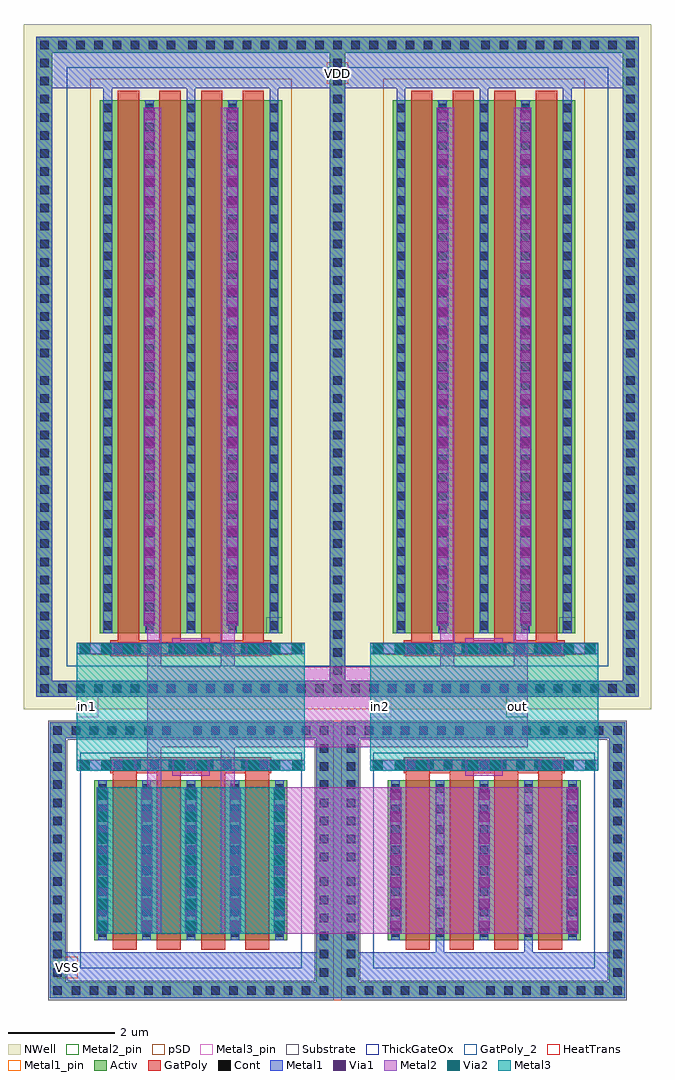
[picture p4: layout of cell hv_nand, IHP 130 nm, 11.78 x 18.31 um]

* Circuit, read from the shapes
.subckt hv_nand VDD VSS in1 in2 out
XM1 out in1 n1 VSS sg13_hv_nmos w=3u l=0.45u m=4
XM2 VSS in2 n1 VSS sg13_hv_nmos w=3u l=0.45u m=4
XM3 out in1 VDD VDD sg13_hv_pmos w=10u l=0.4u m=4
XM4 out in2 VDD VDD sg13_hv_pmos w=10u l=0.4u m=4
.ends

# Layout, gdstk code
from math import pi, radians
import gdstk
lib = gdstk.Library(unit=1e-6, precision=1e-09)
def R(c, l, rs):  # rectangles x0, y0, x1, y1
    for r in rs: c.add(gdstk.rectangle(r[:2], r[2:], *l))
def A(c, l, x, y, w, h, nx, ny, dx, dy):  # array of equal rectangles
    R(c, l, [(x+i*dx, y+j*dy, x+i*dx+w, y+j*dy+h) for i in range(nx) for j in range(ny)])
def P(c, l, *ps):  # polygons
    for p in ps: c.add(gdstk.Polygon(p, *l))
Activ = (1, 0)
GatPoly = (5, 0)
GatPoly_2 = (5, 2)
Cont = (6, 0)
Metal1 = (8, 0)
Metal1_pin = (8, 2)
Metal2 = (10, 0)
Metal2_pin = (10, 2)
pSD = (14, 0)
Via1 = (19, 0)
Via2 = (29, 0)
Metal3 = (30, 0)
Metal3_pin = (30, 2)
NWell = (31, 0)
Substrate = (40, 0)
ThickGateOx = (44, 0)
HeatTrans = (51, 0)

via_stack_13 = lib.new_cell('via_stack$13')
R(via_stack_13, Metal1, [(-0.105,-1.375,0.105,1.375)])
R(via_stack_13, Metal2, [(-0.1,-1.375,0.1,1.375)])
A(via_stack_13, Via1, -0.095, -1.325, 0.19, 0.19, 1, 7, 0, 0.41)

via_stack_10_1 = lib.new_cell('via_stack$10$1')
R(via_stack_10_1, Metal1, [(-0.105,-1.375,0.105,1.375)])
R(via_stack_10_1, Metal2, [(-0.1,-1.375,0.1,1.375)])
A(via_stack_10_1, Via1, -0.095, -1.325, 0.19, 0.19, 1, 7, 0, 0.41)
A(via_stack_10_1, Via2, -0.095, -1.325, 0.19, 0.19, 1, 7, 0, 0.41)
R(via_stack_10_1, Metal3, [(-0.1,-1.375,0.1,1.375)])

nmoshv_5 = lib.new_cell('nmosHV$5')
A(nmoshv_5, Activ, 0, 0, 0.3, 0.3, 5, 1, 0.83, 0)
R(nmoshv_5, Activ, [(-0.84,-0.79,-0.54,3.79), (4.16,-0.79,4.46,3.79), (0,0,3.62,3), (-0.84,3.79,4.46,4.09)])
P(nmoshv_5, Activ, [(-0.84,-1.09),(-0.84,3.79),(-0.54,3.79),(-0.54,-0.79),(4.16,-0.79),(4.16,3.79),(-0.84,3.79),(-0.84,4.09),(4.46,4.09),(4.46,-1.09)])
A(nmoshv_5, GatPoly, 0.34, -0.18, 0.45, 3.36, 4, 1, 0.83, 0)
R(nmoshv_5, GatPoly_2, [(0.34,-0.18,0.79,3.18)])
A(nmoshv_5, Cont, -0.77, -1.02, 0.16, 0.16, 7, 2, 0.34, 4.88)
A(nmoshv_5, Cont, 1.85, -1.02, 0.16, 0.16, 8, 2, 0.34, 4.88)
A(nmoshv_5, Cont, -0.77, -0.68, 0.16, 0.16, 1, 6, 0, 0.34)
A(nmoshv_5, Cont, 4.23, -0.68, 0.16, 0.16, 1, 6, 0, 0.34)
A(nmoshv_5, Cont, 0.07, 0.07, 0.16, 0.16, 5, 7, 0.83, 0.385)
A(nmoshv_5, Cont, -0.77, 1.48, 0.16, 0.16, 1, 7, 0, 0.34)
A(nmoshv_5, Cont, 4.23, 1.48, 0.16, 0.16, 1, 7, 0, 0.34)
A(nmoshv_5, Cont, 0.07, 2.77, 0.16, 0.16, 5, 1, 0.83, 0)
A(nmoshv_5, Metal1, 0.07, 0, 0.16, 3, 5, 1, 0.83, 0)
R(nmoshv_5, Metal1, [(-0.84,-1.09,4.46,-0.79), (-0.84,-0.79,-0.54,3.79), (4.16,-0.79,4.46,3.79), (-0.84,3.79,4.46,4.09)])
R(nmoshv_5, Metal1_pin, [(0.07,0,0.23,3), (0.9,0,1.06,3)])
R(nmoshv_5, pSD, [(-0.87,-0.76,-0.51,3.76), (4.13,-0.76,4.49,3.76), (-0.87,3.76,4.49,4.12)])
P(nmoshv_5, pSD, [(-0.87,-1.12),(-0.87,3.76),(-0.51,3.76),(-0.51,-0.76),(4.13,-0.76),(4.13,3.76),(-0.87,3.76),(-0.87,4.12),(4.49,4.12),(4.49,-1.12)])
R(nmoshv_5, Substrate, [(-0.87,-0.76,-0.51,3.76), (4.13,-0.76,4.49,3.76), (-0.87,3.76,4.49,4.12)])
P(nmoshv_5, Substrate, [(-0.87,-1.12),(-0.87,3.76),(-0.51,3.76),(-0.51,-0.76),(4.13,-0.76),(4.13,3.76),(-0.87,3.76),(-0.87,4.12),(4.49,4.12),(4.49,-1.12)])
R(nmoshv_5, ThickGateOx, [(-0.27,-0.52,3.89,3.52)])
A(nmoshv_5, HeatTrans, 0.34, -0.18, 0.45, 3.36, 4, 1, 0.83, 0)
nmoshv_5.add(gdstk.Label('nmosHV', (0.565,1.5), layer=63, texttype=0))
nmoshv_5.add(gdstk.Label('sub!', (1.81,-0.94), layer=63, texttype=0))
nmoshv_5.add(gdstk.Label('nmosHV', (0.565,1.5), layer=51, texttype=0))
nmoshv_5.add(gdstk.Label('nmosHV', (1.395,1.5), layer=51, texttype=0))
nmoshv_5.add(gdstk.Label('nmosHV', (2.225,1.5), layer=51, texttype=0))
nmoshv_5.add(gdstk.Label('nmosHV', (3.055,1.5), layer=51, texttype=0))

via_stack_3 = lib.new_cell('via_stack$3')
R(via_stack_3, Metal1, [(-0.105,-4.86,0.105,4.86)])
R(via_stack_3, Metal2, [(-0.1,-4.86,0.1,4.86)])
A(via_stack_3, Via1, -0.095, -4.81, 0.19, 0.19, 1, 24, 0, 0.41)

via_stack_7 = lib.new_cell('via_stack$7')
R(via_stack_7, GatPoly, [(-0.15,-1.51,0.15,1.51)])
A(via_stack_7, Cont, -0.08, -1.44, 0.16, 0.16, 1, 9, 0, 0.34)
R(via_stack_7, Metal1, [(-0.08,-1.49,0.08,1.49)])

pmoshv_5 = lib.new_cell('pmosHV$5')
A(pmoshv_5, Activ, 0, 0, 0.3, 0.3, 5, 1, 0.78, 0)
R(pmoshv_5, Activ, [(-1.19,-0.89,-0.89,10.89), (4.31,-0.89,4.61,10.89), (0,0,3.42,10), (-1.19,10.89,4.61,11.19)])
P(pmoshv_5, Activ, [(-1.19,-1.19),(-1.19,10.89),(-0.89,10.89),(-0.89,-0.89),(4.31,-0.89),(4.31,10.89),(-1.19,10.89),(-1.19,11.19),(4.61,11.19),(4.61,-1.19)])
A(pmoshv_5, GatPoly, 0.34, -0.18, 0.4, 10.36, 4, 1, 0.78, 0)
R(pmoshv_5, GatPoly_2, [(0.34,-0.18,0.74,10.18)])
A(pmoshv_5, Cont, -1.12, -1.12, 0.16, 0.16, 8, 2, 0.34, 12.08)
A(pmoshv_5, Cont, 1.66, -1.12, 0.16, 0.16, 9, 2, 0.34, 12.08)
A(pmoshv_5, Cont, -1.12, -0.78, 0.16, 0.16, 1, 17, 0, 0.34)
A(pmoshv_5, Cont, 4.38, -0.78, 0.16, 0.16, 1, 17, 0, 0.34)
A(pmoshv_5, Cont, 0.07, 0.07, 0.16, 0.16, 5, 4, 0.78, 0.345)
A(pmoshv_5, Cont, 0.07, 1.455, 0.16, 0.16, 5, 3, 0.78, 0.345)
A(pmoshv_5, Cont, 0.07, 2.495, 0.16, 0.16, 5, 4, 0.78, 0.345)
A(pmoshv_5, Cont, 0.07, 3.88, 0.16, 0.16, 5, 3, 0.78, 0.345)
A(pmoshv_5, Cont, 0.07, 4.92, 0.16, 0.16, 5, 4, 0.78, 0.345)
A(pmoshv_5, Cont, -1.12, 5.18, 0.16, 0.16, 1, 17, 0, 0.34)
A(pmoshv_5, Cont, 4.38, 5.18, 0.16, 0.16, 1, 17, 0, 0.34)
A(pmoshv_5, Cont, 0.07, 6.305, 0.16, 0.16, 5, 3, 0.78, 0.345)
A(pmoshv_5, Cont, 0.07, 7.345, 0.16, 0.16, 5, 4, 0.78, 0.345)
A(pmoshv_5, Cont, 0.07, 8.73, 0.16, 0.16, 5, 3, 0.78, 0.345)
A(pmoshv_5, Cont, 0.07, 9.77, 0.16, 0.16, 5, 1, 0.78, 0)
A(pmoshv_5, Metal1, 0.07, 0, 0.16, 10, 5, 1, 0.78, 0)
R(pmoshv_5, Metal1, [(-1.19,-1.19,4.61,-0.89), (-1.19,-0.89,-0.89,10.89), (4.31,-0.89,4.61,10.89), (-1.19,10.89,4.61,11.19)])
R(pmoshv_5, Metal1_pin, [(0.07,0,0.23,10), (0.85,0,1.01,10)])
R(pmoshv_5, pSD, [(-0.18,-0.4,3.6,10.4)])
R(pmoshv_5, NWell, [(-1.43,-1.43,4.85,11.43), (-0.62,-0.62,4.04,10.62)])
R(pmoshv_5, Substrate, [(3.12,0,3.42,0.3)])
R(pmoshv_5, ThickGateOx, [(-0.62,-0.62,4.04,10.62)])
A(pmoshv_5, HeatTrans, 0.34, -0.18, 0.4, 10.36, 4, 1, 0.78, 0)
pmoshv_5.add(gdstk.Label('pmosHV', (0.54,5), layer=63, texttype=0))
pmoshv_5.add(gdstk.Label('well', (1.71,-1.04), layer=63, texttype=0))
pmoshv_5.add(gdstk.Label('pmos', (0.54,5), layer=51, texttype=0))
pmoshv_5.add(gdstk.Label('pmos', (1.32,5), layer=51, texttype=0))
pmoshv_5.add(gdstk.Label('pmos', (2.1,5), layer=51, texttype=0))
pmoshv_5.add(gdstk.Label('pmos', (2.88,5), layer=51, texttype=0))

via_stack_8_1 = lib.new_cell('via_stack$8$1')
R(via_stack_8_1, Metal1, [(-0.105,-0.35,0.105,0.35)])
R(via_stack_8_1, Metal2, [(-0.1,-0.35,0.1,0.35)])
R(via_stack_8_1, Via1, [(-0.095,-0.3,0.095,-0.11), (-0.095,0.11,0.095,0.3)])
R(via_stack_8_1, Via2, [(-0.095,-0.3,0.095,-0.11), (-0.095,0.11,0.095,0.3)])
R(via_stack_8_1, Metal3, [(-0.1,-0.35,0.1,0.35)])

via_stack_9_1 = lib.new_cell('via_stack$9$1')
R(via_stack_9_1, Metal1, [(-0.105,-0.555,0.105,0.555)])
R(via_stack_9_1, Metal2, [(-0.1,-0.555,0.1,0.555)])
A(via_stack_9_1, Via1, -0.095, -0.505, 0.19, 0.19, 1, 3, 0, 0.41)
A(via_stack_9_1, Via2, -0.095, -0.505, 0.19, 0.19, 1, 3, 0, 0.41)
R(via_stack_9_1, Metal3, [(-0.1,-0.555,0.1,0.555)])

hv_nand = lib.new_cell('hv_nand')
R(hv_nand, Activ, [(2.65,-5.47,2.85,-0.29)])
A(hv_nand, Metal1, -1.64, 11.38, 0.16, 0.22, 3, 1, 1.56, 0)
A(hv_nand, Metal1, 3.86, 11.38, 0.16, 0.22, 3, 1, 1.56, 0)
R(hv_nand, Metal1, [(2.65,-5.47,2.85,-0.29), (-2.35,-5.17,7.85,-4.6), (4.59,-4.6,4.75,-4.38), (6.25,-4.6,6.41,-4.38), (-2.14,-1.2,2.14,-0.99), (3.36,-1.2,7.64,-0.99), (-2.14,0.99,2.14,1.2), (3.36,0.99,7.64,1.2), (-2.6,11.6,8.1,12.27)])
R(hv_nand, Metal1_pin, [(-2.52,-5.09,-2.12,-4.69), (2.55,11.69,2.95,12.09)])
R(hv_nand, Metal2, [(-0.82,-4.255,-0.56,11.24), (0.56,-4.255,0.82,11.24), (1.56,-4.255,7.26,-1.505), (-0.35,-1.29,0.35,-0.995), (5.15,-1.29,5.85,-0.995), (-0.82,-0.755,6.32,0.755), (4.68,-0.755,4.94,11.24), (6.06,-0.755,6.32,11.24), (-0.35,0.995,0.35,1.29), (5.15,0.995,5.85,1.29)])
R(hv_nand, Metal2_pin, [(5.92,-0.2,6.32,0.2)])
R(hv_nand, pSD, [(2.68,-5.5,2.82,-0.26)])
R(hv_nand, Metal3, [(-1.76,-4.255,1.76,-1.505), (-2.14,-1.195,2.14,1.195), (3.36,-1.195,7.64,1.195)])
R(hv_nand, Metal3_pin, [(-2.14,-0.2,-1.74,0.2), (3.36,-0.2,3.76,0.2)])
R(hv_nand, ThickGateOx, [(2.33,0.76,3.17,12)])
hv_nand.add(gdstk.Reference(via_stack_13, (-0.83,-2.88)))
hv_nand.add(gdstk.Reference(via_stack_10_1, (-1.66,-2.88), rotation=pi))
hv_nand.add(gdstk.Reference(via_stack_10_1, (0,-2.88)))
hv_nand.add(gdstk.Reference(nmoshv_5, (-1.81,-4.38)))
hv_nand.add(gdstk.Reference(via_stack_13, (0.83,-2.88)))
hv_nand.add(gdstk.Reference(via_stack_10_1, (1.66,-2.88)))
hv_nand.add(gdstk.Reference(via_stack_3, (0.78,6.38), rotation=pi))
hv_nand.add(gdstk.Reference(via_stack_3, (-0.78,6.38), rotation=pi))
hv_nand.add(gdstk.Reference(via_stack_7, (0,-1.095), rotation=pi/2))
hv_nand.add(gdstk.Reference(via_stack_7, (0,1.095), rotation=pi/2))
hv_nand.add(gdstk.Reference(pmoshv_5, (-1.71,1.38)))
hv_nand.add(gdstk.Reference(via_stack_13, (3.84,-2.88), rotation=pi))
hv_nand.add(gdstk.Reference(via_stack_8_1, (0,-1.095), rotation=pi/2))
hv_nand.add(gdstk.Reference(via_stack_9_1, (-1.585,-1.095), rotation=pi/2))
hv_nand.add(gdstk.Reference(via_stack_9_1, (1.585,-1.095), rotation=pi/2))
hv_nand.add(gdstk.Reference(via_stack_8_1, (0,1.095), rotation=3*pi/2, x_reflection=True))
hv_nand.add(gdstk.Reference(via_stack_9_1, (-1.585,1.095), rotation=3*pi/2, x_reflection=True))
hv_nand.add(gdstk.Reference(via_stack_9_1, (1.585,1.095), rotation=3*pi/2, x_reflection=True))
hv_nand.add(gdstk.Reference(via_stack_13, (5.5,-2.88)))
hv_nand.add(gdstk.Reference(nmoshv_5, (3.69,-4.38)))
hv_nand.add(gdstk.Reference(via_stack_13, (7.16,-2.88)))
hv_nand.add(gdstk.Reference(via_stack_3, (6.28,6.38), rotation=pi))
hv_nand.add(gdstk.Reference(via_stack_3, (4.72,6.38), rotation=pi))
hv_nand.add(gdstk.Reference(via_stack_7, (5.5,-1.095), rotation=pi/2))
hv_nand.add(gdstk.Reference(pmoshv_5, (3.79,1.38)))
hv_nand.add(gdstk.Reference(via_stack_8_1, (5.5,-1.095), rotation=pi/2))
hv_nand.add(gdstk.Reference(via_stack_9_1, (3.915,-1.095), rotation=pi/2))
hv_nand.add(gdstk.Reference(via_stack_9_1, (7.085,-1.095), rotation=pi/2))
hv_nand.add(gdstk.Reference(via_stack_8_1, (5.5,1.095), rotation=3*pi/2, x_reflection=True))
hv_nand.add(gdstk.Reference(via_stack_9_1, (3.915,1.095), rotation=3*pi/2, x_reflection=True))
hv_nand.add(gdstk.Reference(via_stack_9_1, (7.085,1.095), rotation=3*pi/2, x_reflection=True))
hv_nand.add(gdstk.Reference(via_stack_7, (5.5,1.095), rotation=pi/2))
hv_nand.add(gdstk.Label('VDD', (2.75,11.89), layer=8, texttype=25))
hv_nand.add(gdstk.Label('VSS', (-2.32,-4.89), layer=8, texttype=25))
hv_nand.add(gdstk.Label('out', (6.12,0), layer=10, texttype=25))
hv_nand.add(gdstk.Label('in1', (-1.94,0), layer=30, texttype=25))
hv_nand.add(gdstk.Label('in2', (3.56,0), layer=30, texttype=25))

lib.write_gds('hv_nand.gds')
